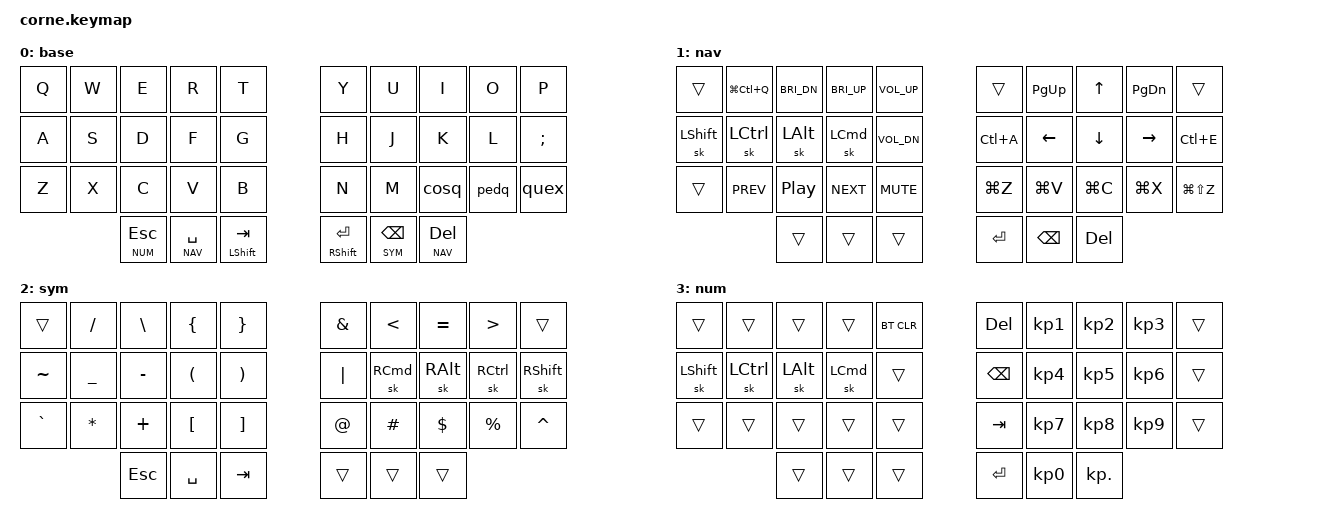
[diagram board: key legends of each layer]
/*
 * Copyright (c) 2020 The ZMK Contributors
 *
 * SPDX-License-Identifier: MIT
 */

#include <behaviors.dtsi>
#include <dt-bindings/zmk/keys.h>
#include <dt-bindings/zmk/bt.h>

#define BASE 0
#define NAV  1
#define SYM  2
#define NUM  3

&lt {
    flavor = "hold-preferred";
};

/ {
    chosen {
      zmk,matrix_transform = &five_column_transform;
    };

    behaviors {
        as: auto_shift {
            compatible = "zmk,behavior-hold-tap";
            #binding-cells = <2>;
            tapping_term_ms = <200>;
            quick_tap_ms = <0>;
            flavor = "tap-preferred";
            bindings = <&kp>, <&kp>;
        };
        cosq: cosq {
            compatible = "zmk,behavior-mod-morph";
            label = "cosq";
            #binding-cells = <0>;
            bindings = <&kp COMMA>, <&kp SQT>;
            mods = <(MOD_LSFT|MOD_RSFT)>;
        };
        pedq: pedq {
            compatible = "zmk,behavior-mod-morph";
            label = "pedq";
            #binding-cells = <0>;
            bindings = <&kp DOT>, <&kp DQT>;
            mods = <(MOD_LSFT|MOD_RSFT)>;
        };
        quex: quex {
            compatible = "zmk,behavior-mod-morph";
            label = "quex";
            #binding-cells = <0>;
            bindings = <&kp QMARK>, <&kp EXCL>;
            mods = <(MOD_LSFT|MOD_RSFT)>;
        };
    };
        keymap {
                compatible = "zmk,keymap";

                base_layer {
                        display-name = "base";
                        bindings = <
   &kp Q &kp W &kp E       &kp R         &kp T           &kp Y          &kp U        &kp I       &kp O &kp P
   &kp A &kp S &kp D       &kp F         &kp G           &kp H          &kp J        &kp K       &kp L &kp SEMI
   &kp Z &kp X &kp C       &kp V         &kp B           &kp N          &kp M        &cosq       &pedq &quex
               &lt NUM ESC &lt NAV SPACE &mt LSHIFT TAB  &mt RSHIFT RET &lt SYM BSPC &lt NAV DEL
                        >;
                };

                nav_layer {
                        display-name = "nav";
                        bindings = <
   &trans     &kp LG(LC(Q)) &kp C_BRI_DN &kp C_BRI_UP &kp C_VOL_UP  &trans    &kp PG_UP &kp UP    &kp PG_DN &trans
   &sk LSHIFT &sk LCTRL     &sk LALT     &sk LCMD     &kp C_VOL_DN  &kp LC(A) &kp LEFT  &kp DOWN  &kp RIGHT &kp LC(E)
   &trans     &kp C_PREV    &kp C_PP     &kp C_NEXT   &kp C_MUTE    &kp LG(Z) &kp LG(V) &kp LG(C) &kp LG(X) &kp LG(LS(Z))
                          &trans        &trans        &trans        &kp RET   &kp BSPC  &kp DEL
                        >;
                };

                sym_layer {
                        display-name = "sym";
                        bindings = <
   &trans    &kp FSLH  &kp BSLH  &kp LBRC  &kp RBRC    &kp AMPS &kp LT   &kp EQUAL &kp GT    &trans
   &kp TILDE &kp UNDER &kp MINUS &kp LPAR  &kp RPAR    &kp PIPE &sk RCMD &sk RALT  &sk RCTRL &sk RSHIFT
   &kp GRAVE &kp STAR  &kp PLUS  &kp LBKT  &kp RBKT    &kp AT   &kp HASH &kp DLLR  &kp PRCNT &kp CARET 
                       &kp ESC   &kp SPACE &kp TAB     &trans   &trans   &trans
                        >;
                };

                num_layer {
                        display-name = "num";
                        bindings = <
   &trans     &trans    &trans    &trans     &bt BT_CLR  &kp DEL  &kp KP_N1  &kp KP_N2  &kp KP_N3  &trans
   &sk LSHIFT &sk LCTRL &sk LALT  &sk LCMD   &trans      &kp BSPC &kp KP_N4  &kp KP_N5  &kp KP_N6  &trans
   &trans     &trans    &trans    &trans     &trans      &kp TAB  &kp KP_N7  &kp KP_N8  &kp KP_N9  &trans
                        &trans    &trans     &trans      &kp RET  &kp KP_N0  &kp KP_DOT
                        >;
                };
        };
};
